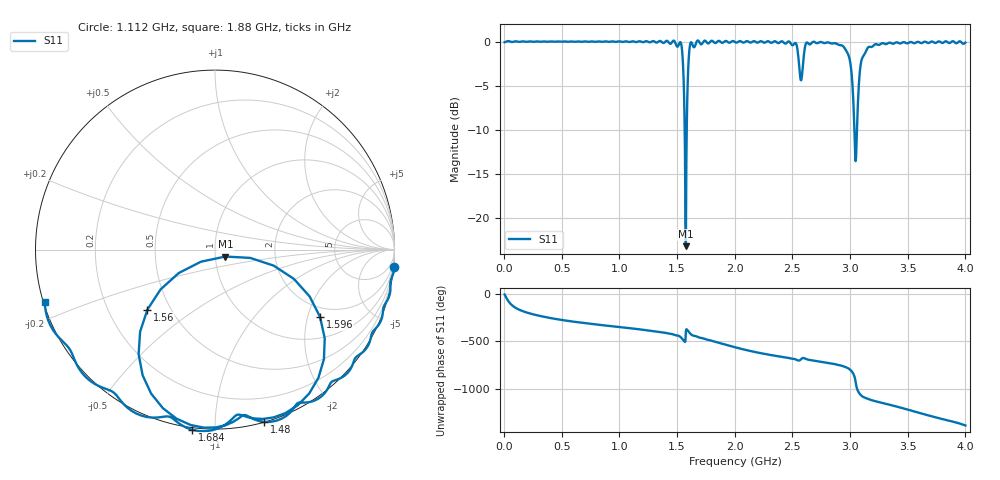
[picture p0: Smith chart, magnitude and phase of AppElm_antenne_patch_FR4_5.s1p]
! TOUCHSTONE file generated by CST MICROWAVE STUDIO
! Date and time: Tue Jun  7 19:07:18 2022
! Project name: AppElm_antenne_patch_FR4.cst
! Parameters = {L=45; W=55.575; e=0.035; h=1.6; lambda=0.190476; ls=120; w0=1.6; w1=0.533333; ws=120; y0=20; y1=23.8095}
! Header version: 2018
! Port assignment regex: !\s*Touchstone port\s*([0-9]+)\s*=\s*(CST MWS port|CST DS port)\s*([0-9]+|Zmin|Zmax)\s*\(\"(.*)\"\)(\s*mode\s*([0-9]+))?.*
! Touchstone port assignment:
! Touchstone port 1 = CST MWS port 1 ("")
# GHz S MA R 50
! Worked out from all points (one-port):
!   1000 points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, 4 MHz to 4 GHz, reference 50 ohm
!   lowest |S11| = -23.2 dB at 1.576 GHz (marker M1), VSWR 1.15, Z = 55.9 - j4.35 ohm
!   |S11| at or under -10 dB: 1.566 GHz to 1.583 GHz (17.93 MHz wide, 1.14 % of centre); 3.037 GHz to 3.06 GHz (22.38 MHz wide, 0.734 % of centre)
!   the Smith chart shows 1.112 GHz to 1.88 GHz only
!   S11 on the Smith chart (normalised r, x): 1.112 GHz: -1, -20; 1.48 GHz: 0.00, -1.33; 1.56 GHz: 0.37, -0.33; 1.596 GHz: 1.65, -2.40; 1.684 GHz: -0.01, -0.88; 1.88 GHz: 0.00, -0.15
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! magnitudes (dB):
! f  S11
! 4 MHz  -0.1
! 504 MHz  0.0
! 1.004 GHz  0.0
! 1.112 GHz  0.0
! 1.48 GHz  0.0
! 1.504 GHz  -0.6
! 1.54 GHz  -0.6
! 1.56 GHz  -6.0
! 1.576 GHz  -23.2
! 1.588 GHz  -6.6
! 1.596 GHz  -3.2
! 1.604 GHz  -1.3
! 1.616 GHz  -0.2
! 1.684 GHz  0.1
! 1.88 GHz  -0.1
! 2.004 GHz  -0.1
! 2.504 GHz  -0.4
! 2.572 GHz  -4.4
! 2.62 GHz  -0.1
! 2.684 GHz  0.0
! 2.932 GHz  -0.5
! 3.004 GHz  -2.6
! 3.048 GHz  -13.5
! 3.06 GHz  -9.9
! 3.092 GHz  -2.6
! 3.14 GHz  -1.0
! 3.504 GHz  -0.2
! 4 GHz  -0.1
